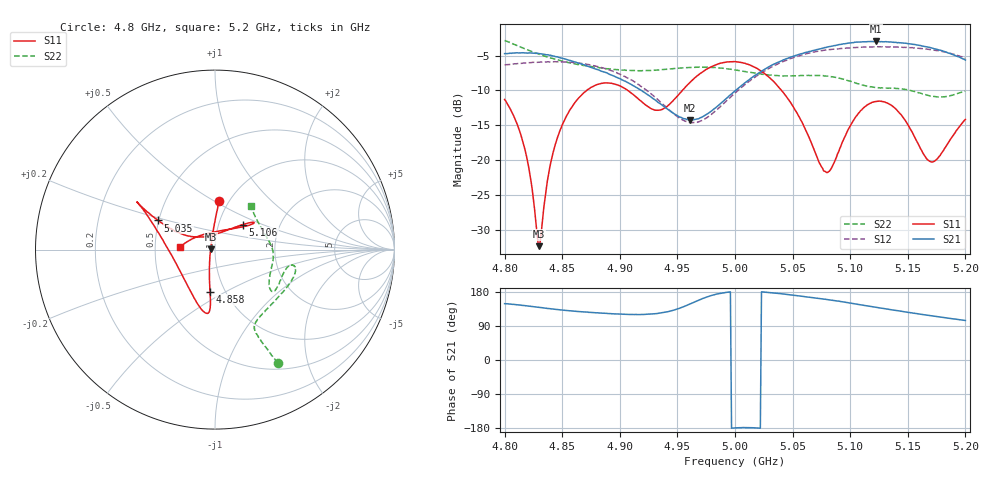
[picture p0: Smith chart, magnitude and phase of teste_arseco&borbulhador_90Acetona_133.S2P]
! Network Analyzer HP8722D
! Hewlett-Packard
! Data name: Linha & Wilkinson
! Saver's name: Rodrigo Anjos
! Comments: Teste da utilização de aquisição
! continua pelo VNA HP8722D
! Time and date: 17/4/2025 12:09
!  Frequency  S11  S21  S12  S22
# HZ  S  MA R 50
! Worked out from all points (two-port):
!   401 points, 4.8 GHz to 5.2 GHz, reference 50 ohm
!   highest |S21| = -2.97 dB at 5.122 GHz (marker M1); lowest = -14.2 dB at 4.961 GHz (marker M2)
!   |S21| within 3 dB of the highest: start of sweep to 4.862 GHz; 5.037 GHz to end of sweep
!   lowest |S11| = -32.3 dB at 4.83 GHz (marker M3), VSWR 1.05, Z = 47.6 + j0.172 ohm
!   |S11| at or under -10 dB: start of sweep to 4.871 GHz; 4.907 GHz to 4.954 GHz (47.28 MHz wide, 0.959 % of centre); 5.04 GHz to end of sweep
!   |S22| runs from -11.0 to -2.8 dB; largest |S21 - S12| = 1.3
!   S11 on the Smith chart (normalised r, x): 4.8 GHz: 0.90, +0.53; 4.858 GHz: 0.85, -0.42; 5.035 GHz: 0.50, +0.18; 5.106 GHz: 1.31, +0.38; 5.2 GHz: 0.67, +0.02
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4.8e9  0.2727 85.2  0.5809 148.6  0.483 -112.5  0.722 -61.1
4.817e9  0.1252 93.2  0.5885 143.7  0.4981 -112.2  0.6324 -62.2
4.822e9  0.0789 100.6  0.5877 141.9  0.4991 -111.9  0.6091 -62.6
4.828e9  0.03058 136.8  0.5856 139.7  0.503 -111.6  0.5835 -63.0
4.83e9  0.02422 175.7  0.581 138.8  0.5044 -111.4  0.5752 -63.2
4.842e9  0.1128 -106.2  0.5597 134.4  0.5072 -110.9  0.5358 -63.6
4.858e9  0.2375 -96.7  0.5148 129.5  0.5039 -110.8  0.4967 -63.7
4.867e9  0.2943 -94.9  0.4877 127.1  0.4929 -111.1  0.4805 -62.8
4.898e9  0.3468 -101.6  0.3899 121.5  0.4205 -114.4  0.4464 -54.1
4.934e9  0.2285 -155.3  0.2571 123.2  0.2678 -115.0  0.4434 -33.7
4.961e9  0.3623 158.9  0.1943 147.8  0.1862 -89.3  0.4626 -19.8
5e9  0.5094 148.7  0.314 -179.3  0.3035 -49.5  0.4433 -11.3
5.035e9  0.3562 152.9  0.4923 176.5  0.4802 -45.8  0.4053 -17.8
5.052e9  0.2302 155.1  0.5615 170.3  0.5476 -47.4  0.4032 -25.2
5.067e9  0.129 147.0  0.6095 164.7  0.5935 -49.7  0.4053 -31.6
5.075e9  0.08994 125.6  0.6323 161.7  0.6085 -51.1  0.404 -34.2
5.081e9  0.08249 96.9  0.6507 159.1  0.6197 -52.4  0.4009 -35.6
5.106e9  0.2102 41.7  0.702 147.2  0.6437 -58.2  0.3546 -32.0
5.122e9  0.2636 35.2  0.7103 139.2  0.6499 -62.9  0.332 -20.7
5.134e9  0.2523 34.4  0.7035 133.5  0.6482 -67.0  0.3292 -11.1
5.17e9  0.09761 98.1  0.6397 116.9  0.6214 -79.5  0.2886 19.6
5.2e9  0.1961 175.8  0.5224 104.3  0.5377 -89.3  0.3128 50.3
